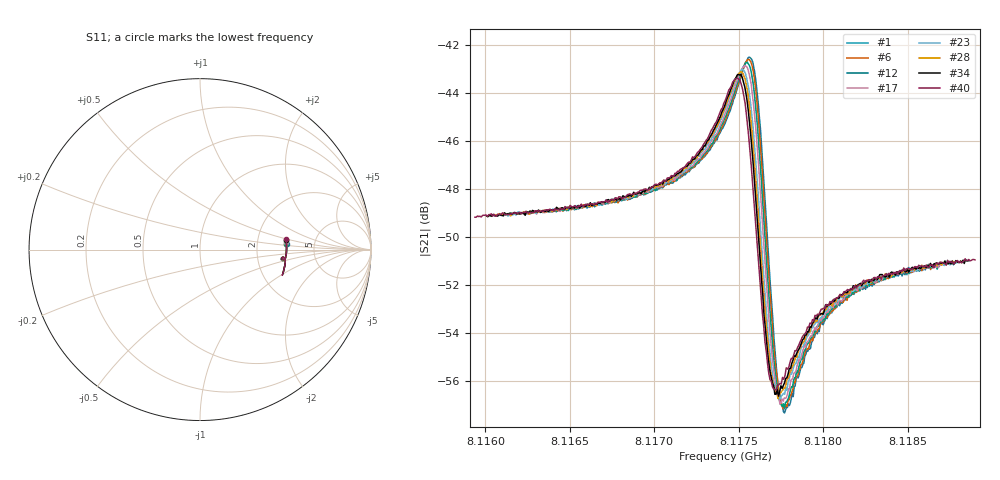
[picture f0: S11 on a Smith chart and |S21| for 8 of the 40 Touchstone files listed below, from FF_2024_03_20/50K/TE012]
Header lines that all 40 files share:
#  HZ  S  RI  R  50.00
! Rohde & Schwarz Vector Network Analyzer
! Rohde-Schwarz,ZNB20-2Port,1311601062101988,3.16
! freq[Hz]  re:S11  im:S11  re:S21  im:S21  re:S12  im:S12  re:S22  im:S22
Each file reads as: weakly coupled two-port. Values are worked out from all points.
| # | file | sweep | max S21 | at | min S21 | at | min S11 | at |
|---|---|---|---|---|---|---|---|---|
| 1 | 261_2_48.197_50.11483_67627.141_707.6284694671631_.s2p | 8.116373 GHz to 8.118657 GHz | -42.53 dB | 8.117561 GHz | -57.3 dB | 8.117772 GHz | -6.4 dB | 8.117595 GHz |
| 2 | 263_2_48.2013_50.1136932_68100.867_712.468320608139_.s2p | 8.116357 GHz to 8.118667 GHz | -42.56 dB | 8.117564 GHz | -57.3 dB | 8.117772 GHz | -6.4 dB | 8.117593 GHz |
| 3 | 265_2_48.2042_50.1130066_68605.117_717.3665442466736_.s2p | 8.116368 GHz to 8.118655 GHz | -42.59 dB | 8.117557 GHz | -57.2 dB | 8.11778 GHz | -6.4 dB | 8.117598 GHz |
| 4 | 266_2_48.2016_50.1134644_68836.844_719.7781267166138_.s2p | 8.116334 GHz to 8.118682 GHz | -42.59 dB | 8.117555 GHz | -57.2 dB | 8.117784 GHz | -6.4 dB | 8.11759 GHz |
| 5 | 267_2_48.1989_50.1127663_69088.695_722.2118332386017_.s2p | 8.116347 GHz to 8.11867 GHz | -42.61 dB | 8.117555 GHz | -57.2 dB | 8.117776 GHz | -6.4 dB | 8.11759 GHz |
| 6 | 268_2_48.2016_50.111927_69330.93_724.6354069709778_.s2p | 8.116342 GHz to 8.118672 GHz | -42.62 dB | 8.11756 GHz | -57.2 dB | 8.117764 GHz | -6.4 dB | 8.117589 GHz |
| 7 | 269_2_48.2027_50.1101799_69572.836_727.0585203170776_.s2p | 8.11634 GHz to 8.118673 GHz | -42.64 dB | 8.117559 GHz | -57.1 dB | 8.117763 GHz | -6.4 dB | 8.117588 GHz |
| 8 | 271_2_48.2011_50.1101799_70056.266_731.9144208431244_.s2p | 8.116338 GHz to 8.118672 GHz | -42.64 dB | 8.117557 GHz | -57.1 dB | 8.117756 GHz | -6.4 dB | 8.117587 GHz |
| 9 | 273_2_48.1969_50.1099548_70570.492_736.7625432014465_.s2p | 8.116315 GHz to 8.118688 GHz | -42.67 dB | 8.117561 GHz | -57.2 dB | 8.117768 GHz | -6.4 dB | 8.117585 GHz |
| 10 | 274_2_48.1974_50.1084366_70801.883_739.1822361946106_.s2p | 8.116322 GHz to 8.118681 GHz | -42.66 dB | 8.117555 GHz | -57.2 dB | 8.117761 GHz | -6.4 dB | 8.117584 GHz |
| 11 | 276_2_48.1995_50.1077538_71295.438_744.0165209770203_.s2p | 8.116306 GHz to 8.118691 GHz | -42.70 dB | 8.117552 GHz | -57.2 dB | 8.117761 GHz | -6.4 dB | 8.117588 GHz |
| 12 | 277_2_48.2038_50.105854_72121.906_752.3916811943054_.s2p | 8.116308 GHz to 8.118688 GHz | -42.73 dB | 8.117551 GHz | -57.2 dB | 8.117772 GHz | -6.4 dB | 8.117581 GHz |
| 13 | 282_2_48.201_50.1050186_73341.578_764.4820013046265_.s2p | 8.116264 GHz to 8.118712 GHz | -42.81 dB | 8.117549 GHz | -57.0 dB | 8.117764 GHz | -6.4 dB | 8.117574 GHz |
| 14 | 283_2_48.2015_50.1040344_73593.469_766.9178891181946_.s2p | 8.116249 GHz to 8.118723 GHz | -42.82 dB | 8.117542 GHz | -56.9 dB | 8.117758 GHz | -6.4 dB | 8.117579 GHz |
| 15 | 285_2_48.1993_50.104187_74087.289_771.7610561847687_.s2p | 8.116234 GHz to 8.118734 GHz | -42.83 dB | 8.11754 GHz | -57.0 dB | 8.117752 GHz | -6.4 dB | 8.117571 GHz |
| 16 | 287_2_48.2012_50.1038857_74580.883_776.6741006374359_.s2p | 8.116235 GHz to 8.118729 GHz | -42.86 dB | 8.117538 GHz | -56.9 dB | 8.117756 GHz | -6.4 dB | 8.117576 GHz |
| 17 | 288_2_48.198_50.10252_74843.109_779.0639765262604_.s2p | 8.116221 GHz to 8.11874 GHz | -42.86 dB | 8.117537 GHz | -57.0 dB | 8.117745 GHz | -6.4 dB | 8.117575 GHz |
| 18 | 292_2_48.2014_50.1015129_75790.297_788.7471542358398_.s2p | 8.116204 GHz to 8.118748 GHz | -42.92 dB | 8.117527 GHz | -56.9 dB | 8.117749 GHz | -6.4 dB | 8.117571 GHz |
| 19 | 294_2_48.2014_50.1028099_76274.797_793.5672678947449_.s2p | 8.116192 GHz to 8.118756 GHz | -42.95 dB | 8.117538 GHz | -56.8 dB | 8.117749 GHz | -6.4 dB | 8.117564 GHz |
| 20 | 295_2_48.202_50.103569_76526.211_795.9690496921539_.s2p | 8.116184 GHz to 8.118761 GHz | -42.96 dB | 8.11753 GHz | -56.8 dB | 8.117736 GHz | -6.4 dB | 8.117569 GHz |
| 21 | 299_2_48.1989_50.1002235_78128.945_811.4479894638062_.s2p | 8.116168 GHz to 8.118766 GHz | -42.99 dB | 8.117526 GHz | -56.8 dB | 8.117753 GHz | -6.4 dB | 8.117558 GHz |
| 22 | 300_2_48.2016_50.09795_78340.602_813.8710696697235_.s2p | 8.116163 GHz to 8.118766 GHz | -43.01 dB | 8.117523 GHz | -56.8 dB | 8.117738 GHz | -6.4 dB | 8.117562 GHz |
| 23 | 302_2_48.2_50.0992393_78834.391_818.8827321529388_.s2p | 8.116128 GHz to 8.118792 GHz | -43.03 dB | 8.117526 GHz | -56.8 dB | 8.117746 GHz | -6.4 dB | 8.117553 GHz |
| 24 | 306_2_48.2005_50.0976448_79822.086_828.638482093811_.s2p | 8.116115 GHz to 8.118797 GHz | -43.10 dB | 8.117516 GHz | -56.8 dB | 8.117738 GHz | -6.4 dB | 8.117557 GHz |
| 25 | 307_2_48.2005_50.0964317_80054.18_831.050121307373_.s2p | 8.116092 GHz to 8.118815 GHz | -43.11 dB | 8.117522 GHz | -56.7 dB | 8.11776 GHz | -6.4 dB | 8.117556 GHz |
| 26 | 309_2_48.2005_50.0956764_80567.703_835.9317314624786_.s2p | 8.1161 GHz to 8.118804 GHz | -43.13 dB | 8.117506 GHz | -56.8 dB | 8.117743 GHz | -6.4 dB | 8.117547 GHz |
| 27 | 310_2_48.1979_50.095974_80799.484_838.3405976295471_.s2p | 8.116082 GHz to 8.118819 GHz | -43.16 dB | 8.117505 GHz | -56.7 dB | 8.117738 GHz | -6.4 dB | 8.117553 GHz |
| 28 | 311_2_48.2005_50.0968857_81021.297_840.7747530937195_.s2p | 8.116051 GHz to 8.118843 GHz | -43.13 dB | 8.117517 GHz | -56.7 dB | 8.117733 GHz | -6.4 dB | 8.117552 GHz |
| 29 | 312_2_48.1989_50.0943222_81283.164_843.2077128887177_.s2p | 8.116076 GHz to 8.11882 GHz | -43.16 dB | 8.117516 GHz | -56.6 dB | 8.117736 GHz | -6.4 dB | 8.117551 GHz |
| 30 | 313_2_48.1978_50.0934868_81515.305_845.6987063884735_.s2p | 8.116061 GHz to 8.118831 GHz | -43.15 dB | 8.117508 GHz | -56.7 dB | 8.117723 GHz | -6.4 dB | 8.11755 GHz |
| 31 | 314_2_48.1999_50.0929565_81767.531_848.1173634529114_.s2p | 8.116071 GHz to 8.118821 GHz | -43.17 dB | 8.117508 GHz | -56.6 dB | 8.117728 GHz | -6.4 dB | 8.117549 GHz |
| 32 | 315_2_48.2004_50.092804_82019.68_850.5493168830872_.s2p | 8.116055 GHz to 8.118833 GHz | -43.18 dB | 8.117506 GHz | -56.6 dB | 8.117729 GHz | -6.4 dB | 8.117548 GHz |
| 33 | 317_2_48.2031_50.0931091_82523.406_855.6221735477448_.s2p | 8.116052 GHz to 8.118832 GHz | -43.18 dB | 8.117505 GHz | -56.6 dB | 8.117734 GHz | -6.4 dB | 8.117546 GHz |
| 34 | 321_2_48.1987_50.08992_83500.68_865.3167645931244_.s2p | 8.116007 GHz to 8.118865 GHz | -43.25 dB | 8.1175 GHz | -56.6 dB | 8.117736 GHz | -6.4 dB | 8.117543 GHz |
| 35 | 323_2_48.2008_50.087719_84528.523_875.629670381546_.s2p | 8.115994 GHz to 8.118868 GHz | -43.30 dB | 8.117496 GHz | -56.6 dB | 8.117733 GHz | -6.4 dB | 8.117539 GHz |
| 36 | 324_2_48.2003_50.0884781_84830.836_878.200334072113_.s2p | 8.115975 GHz to 8.118882 GHz | -43.29 dB | 8.117494 GHz | -56.6 dB | 8.117734 GHz | -6.4 dB | 8.117538 GHz |
| 37 | 326_2_48.2035_50.0884056_85304.719_883.0613265037537_.s2p | 8.115986 GHz to 8.118871 GHz | -43.32 dB | 8.117493 GHz | -56.5 dB | 8.117724 GHz | -6.4 dB | 8.117537 GHz |
| 38 | 327_2_48.203_50.0869675_85536.328_885.5068278312683_.s2p | 8.115966 GHz to 8.118887 GHz | -43.32 dB | 8.117499 GHz | -56.5 dB | 8.117711 GHz | -6.4 dB | 8.117536 GHz |
| 39 | 328_2_48.1987_50.0865097_85798.086_887.9423151016235_.s2p | 8.115967 GHz to 8.118884 GHz | -43.32 dB | 8.117491 GHz | -56.5 dB | 8.117717 GHz | -6.4 dB | 8.117535 GHz |
| 40 | 333_2_48.2003_50.0845375_87018.383_900.0742568969727_.s2p | 8.115939 GHz to 8.1189 GHz | -43.39 dB | 8.117493 GHz | -56.4 dB | 8.117723 GHz | -6.3 dB | 8.11753 GHz |
